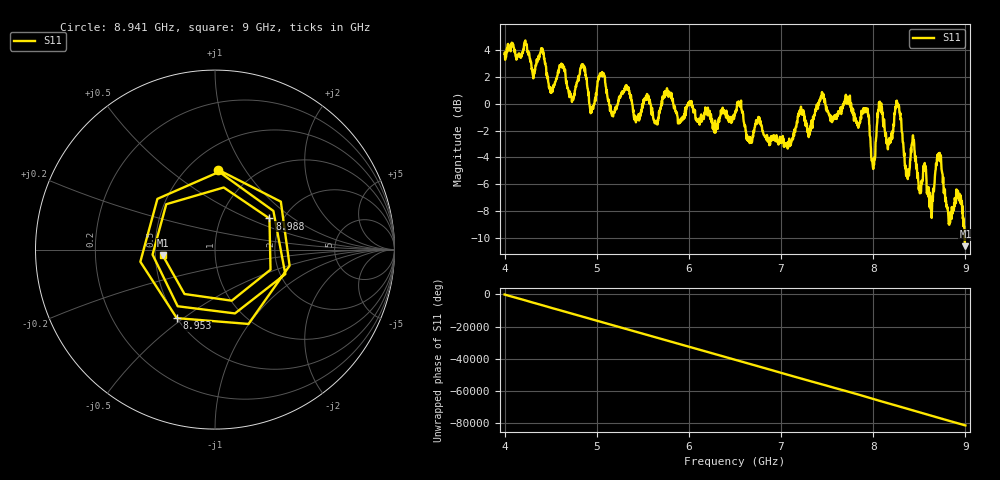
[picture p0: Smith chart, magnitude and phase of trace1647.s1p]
! Created with skrf 1.8.0 (http://scikit-rf.org).
# Hz S RI R 50.0
!freq ReS11 ImS11
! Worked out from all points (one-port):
!   1601 points, 4 GHz to 9 GHz, reference 50 ohm
!   lowest |S11| = -10.6 dB at 9 GHz (marker M1), VSWR 1.83, Z = 27.3 - j1.79 ohm
!   |S11| at or under -10 dB: 8.992261 GHz to end of sweep
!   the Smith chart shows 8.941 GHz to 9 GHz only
!   S11 on the Smith chart (normalised r, x): 8.941 GHz: 0.69, +0.77; 8.953 GHz: 0.50, -0.47; 8.988 GHz: 1.70, +0.67; 9 GHz: 0.55, -0.04
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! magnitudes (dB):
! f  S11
! 4 GHz  3.7
! 4.406 GHz  3.9
! 4.506 GHz  0.8
! 4.625 GHz  2.8
! 4.734 GHz  0.4
! 4.85 GHz  2.9
! 4.944 GHz  -0.6
! 5.053 GHz  2.2
! 5.162 GHz  -0.8
! 5.25 GHz  0.6
! 5.875 GHz  -0.9
! 6.5 GHz  -0.7
! 7.125 GHz  -2.6
! 7.75 GHz  0.2
! 7.928 GHz  -0.5
! 7.997 GHz  -4.8
! 8.069 GHz  0.1
! 8.169 GHz  -3.0
! 8.266 GHz  -0.1
! 8.375 GHz  -5.6
! 8.438 GHz  -3.1
! 8.622 GHz  -7.0
! 8.712 GHz  -3.7
! 8.825 GHz  -9.0
! 8.941 GHz  -7.0
! 8.953 GHz  -7.2
! 8.988 GHz  -9.1
! 9 GHz  -10.6
